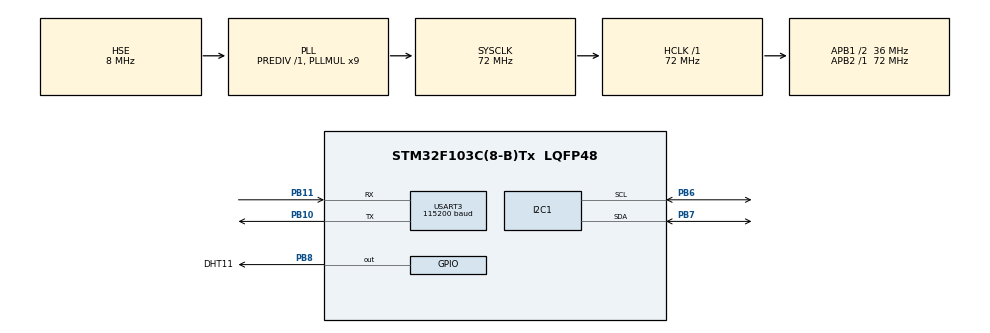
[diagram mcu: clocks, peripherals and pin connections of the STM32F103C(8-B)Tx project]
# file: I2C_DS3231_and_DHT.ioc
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Mcu.Family=STM32F1
Mcu.Name=STM32F103C(8-B)Tx
Mcu.Package=LQFP48
NVIC.PriorityGroup=NVIC_PRIORITYGROUP_4
PA13.Mode=Serial_Wire
PA13.Signal=SYS_JTMS-SWDIO
PA14.Mode=Serial_Wire
PA14.Signal=SYS_JTCK-SWCLK
PB10.Mode=Asynchronous
PB10.Signal=USART3_TX
PB11.Mode=Asynchronous
PB11.Signal=USART3_RX
PB6.Mode=I2C
PB6.Signal=I2C1_SCL
PB7.Mode=I2C
PB7.Signal=I2C1_SDA
PB8.GPIO_Label=DHT11
PB8.Signal=GPIO_Output
PD0-OSC_IN.Mode=HSE-External-Oscillator
PD0-OSC_IN.Signal=RCC_OSC_IN
PD1-OSC_OUT.Mode=HSE-External-Oscillator
PD1-OSC_OUT.Signal=RCC_OSC_OUT
ProjectManager.HeapSize=0x200
ProjectManager.StackSize=0x400
ProjectManager.TargetToolchain=TrueSTUDIO
RCC.AHBFreq_Value=72000000
RCC.APB1CLKDivider=RCC_HCLK_DIV2
RCC.APB1Freq_Value=36000000
RCC.APB1TimFreq_Value=72000000
RCC.APB2Freq_Value=72000000
RCC.APB2TimFreq_Value=72000000
RCC.HCLKFreq_Value=72000000
RCC.PLLMUL=RCC_PLL_MUL9
RCC.PLLSourceVirtual=RCC_PLLSOURCE_HSE
RCC.SYSCLKFreq_VALUE=72000000
RCC.SYSCLKSource=RCC_SYSCLKSOURCE_PLLCLK
RCC.USBFreq_Value=72000000
TIM4.Period=1000
TIM4.Prescaler=36
USART3.BaudRate=115200
USART3.VirtualMode=VM_ASYNC
VP_TIM4_VS_ClockSourceINT.Mode=Internal
board=custom

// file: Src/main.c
/* USER CODE BEGIN Header */
/**
 *
 * https://narodstream.ru/stm-urok-9-hal-shina-i2c-prodolzhaem-rabotu-s-ds3231/
 * https://terraideas.ru/article/podklyuchenie-dht11-i-dht22-k-stm32f103c8t6-4
 *
  ******************************************************************************
  * @file           : main.c
  * @brief          : Main program body
  ******************************************************************************
  * @attention
  *
  * <h2><center>&copy; Copyright (c) 2020 STMicroelectronics.
  * All rights reserved.</center></h2>
  *
  * This software component is licensed by ST under BSD 3-Clause license,
  * the "License"; You may not use this file except in compliance with the
  * License. You may obtain a copy of the License at:
  *                        opensource.org/licenses/BSD-3-Clause
  *
  ******************************************************************************
  */
/* USER CODE END Header */

#include "main.h"

/* USER CODE BEGIN Includes */
#include "string.h"
#include <stdio.h>
/* USER CODE END Includes */

/* USER CODE BEGIN PD */
#define DHT_SIZE 5 // size of temp_s
#define DHT_MAX_US 200
/* USER CODE END PD */

I2C_HandleTypeDef hi2c1;

TIM_HandleTypeDef htim4;

UART_HandleTypeDef huart3;

/* USER CODE BEGIN PV */

typedef struct {
	uint8_t HI; // целая часть влажности
	uint8_t HD; // дробная часть влажности
	uint8_t TI; // целая часть температуры
	uint8_t TD; // дробная часть температуры
	uint8_t crc; // контрольная сумма
} temp_s;

temp_s dht11_data;

uint8_t aTxBuffer[8];
char str[100];

uint32_t i=0;
uint8_t sec=0, min=0, hour=0, day=0, date=0, month=0, year=0;

/* USER CODE END PV */

void SystemClock_Config(void);
static void MX_GPIO_Init(void);
static void MX_I2C1_Init(void);
static void MX_USART3_UART_Init(void);
static void MX_TIM4_Init(void);

/* USER CODE BEGIN 0 */

// state - какой уровень считаем
uint8_t DHTGetUs(uint8_t state){

	uint8_t cnt = 0; // считаем сколько us продержался наш уровень, и выходим если что то пошло не так
	while (HAL_GPIO_ReadPin(DHT11_GPIO_Port, DHT11_Pin) == state && (cnt++ < DHT_MAX_US)) {

		//delay_us(1);
		TIM4->CNT = 0;
		while((TIM4->CNT < 2 * 1)) {}
	}
	return cnt;
}

uint8_t DHTRecv(temp_s *data) {
	// для удобства получения данных в цикле
	// представим нашу структуру как указатель на массив байт

	uint8_t *buf = data;
	uint8_t cnt, i, b = 0;
	// Поднимем ногу датчика к питанию на некоторое время, что бы датчик начал работать

	HAL_GPIO_WritePin(DHT11_GPIO_Port, DHT11_Pin, GPIO_PIN_SET);
	//delay_ms(100); // прижмем к питанию минимум на 18 мкс для DHT 11
	HAL_Delay(100);

	HAL_GPIO_WritePin(DHT11_GPIO_Port, DHT11_Pin, GPIO_PIN_RESET);
	//delay_ms(30); // отпустим ногу
	HAL_Delay(30);
	HAL_GPIO_WritePin(DHT11_GPIO_Port, DHT11_Pin, GPIO_PIN_SET); // датчик не сразу прижимает ногу в 0

	// по этому ждем некоторое время
	DHTGetUs(1); // теперь, когда нога прижата, ждем пока она прижата
	// 5 тут просто для того что бы убедится что прошло минимум 5 мкс
	if (DHTGetUs(0) < 5) return ERROR; // теперь ждем пока нога поднята
	if (DHTGetUs(1) < 5) return ERROR; // импульс присутствия датчика получен

	// значит нужно начинать получать наши биты // цикл по размеру структуры, в нашем случае 5 байт
	for (b = 0; b < DHT_SIZE; ++b) { // обнулим предыдущие показания
		*buf = 0;
		// получаем 8 бит в первый байт
		for (i = 0; i < 8; ++i) {
			//получаем время на сколько нога была прижата к 0
			cnt = DHTGetUs(0);
			// теперь получаем сколько нога прижата к 1 и сравниваем
			// если к 1 прижата дольше (>) значит пришла единица
			// если нет то пришел 0
			// и пишем это в нашу структуру
			*buf |= (DHTGetUs(1) > cnt) << (7 - i); }
		// сдвигаем указатель на следущий байт структуры
		buf++; }
	// проверяем контрольную сумму
	if (data->crc != data->HD + data->HI + data->TD + data->TI)
		return ERROR;
	return SUCCESS;
}

//перевод двоично-десятичного числа в десятичное
uint8_t RTC_ConvertFromDec(uint8_t c) {

 uint8_t ch = ((c>>4)*10+(0x0F&c));
       return ch;
}

//перевод десятичного числа в двоично-десятичное
uint8_t RTC_ConvertFromBinDec(uint8_t c) {

       uint8_t ch = ((c/10)<<4)|(c%10);
       return ch;
}

void I2C_WriteBuffer(I2C_HandleTypeDef hi, uint8_t DEV_ADDR, uint8_t sizebuf) {

	while(HAL_I2C_Master_Transmit(&hi, (uint16_t)DEV_ADDR,(uint8_t*) &aTxBuffer, (uint16_t)sizebuf, (uint32_t)1000)!= HAL_OK) {

	   if (HAL_I2C_GetError(&hi) != HAL_I2C_ERROR_AF) {

			   sprintf(str, "Buffer error");
			   HAL_UART_Transmit(&huart3, (uint8_t*)str, strlen(str), 1000);
	   }
	}
}

void I2C_ReadBuffer(I2C_HandleTypeDef hi, uint8_t DEV_ADDR, uint8_t sizebuf) {

	while(HAL_I2C_Master_Receive(&hi, (uint16_t)DEV_ADDR, (uint8_t*) &aTxBuffer, (uint16_t)sizebuf, (uint32_t)1000)!= HAL_OK) {

	   if (HAL_I2C_GetError(&hi) != HAL_I2C_ERROR_AF) {

			   sprintf(str, "Buffer error");
			   HAL_UART_Transmit(&huart3, (uint8_t*)str, strlen(str), 1000);
	   }
	}
}
/* USER CODE END 0 */

int main(void)
{

  /* MCU Configuration--------------------------------------------------------*/

  /* Reset of all peripherals, Initializes the Flash interface and the Systick. */
  HAL_Init();

  /* Configure the system clock */
  SystemClock_Config();

  /* Initialize all configured peripherals */
  MX_GPIO_Init();
  MX_I2C1_Init();
  MX_USART3_UART_Init();
  MX_TIM4_Init();
  /* USER CODE BEGIN 2 */
  HAL_TIM_Base_Start(&htim4);
  /* USER CODE END 2 */

  /* Infinite loop */
  /* USER CODE BEGIN WHILE */
  while (1) {

	  if (DHTRecv(&dht11_data) != SUCCESS) {

		  snprintf(str, 63, "Can't read from dht\n");
		  HAL_UART_Transmit(&huart3, (uint8_t*)str, strlen(str), 1000);
	  }

     aTxBuffer[0]=0;
     I2C_WriteBuffer(hi2c1,(uint16_t)0xD0,1);

	while (HAL_I2C_GetState(&hi2c1) != HAL_I2C_STATE_READY) {}

	I2C_ReadBuffer(hi2c1,(uint16_t)0xD0,7);

	date=aTxBuffer[4];
	date = RTC_ConvertFromDec(date); //Преобразуем в десятичный формат

	month=aTxBuffer[5];
	month = RTC_ConvertFromDec(month); //Преобразуем в десятичный формат

	year=aTxBuffer[6];
	year = RTC_ConvertFromDec(year); //Преобразуем в десятичный формат

	day=aTxBuffer[3];
	day = RTC_ConvertFromDec(day); //Преобразуем в десятичный формат

	hour=aTxBuffer[2];
	hour = RTC_ConvertFromDec(hour); //Преобразуем в десятичный формат

	min=aTxBuffer[1];
	min = RTC_ConvertFromDec(min); //Преобразуем в десятичный формат

	sec=aTxBuffer[0];
	sec = RTC_ConvertFromDec(sec); //Преобразуем в десятичный формат

	snprintf(str, 63, "%u : %u : %u, T = %d.%d, H = %d.%d\n", hour, min, sec, dht11_data.TI, dht11_data.TD, dht11_data.HI, dht11_data.HD);

	HAL_UART_Transmit(&huart3, (uint8_t*)str, strlen(str), 1000);

	HAL_Delay(100);
	i++;
    /* USER CODE END WHILE */

  }
}

void SystemClock_Config(void)
{
  RCC_OscInitTypeDef RCC_OscInitStruct = {0};
  RCC_ClkInitTypeDef RCC_ClkInitStruct = {0};

  /** Initializes the CPU, AHB and APB busses clocks
  */
  RCC_OscInitStruct.OscillatorType = RCC_OSCILLATORTYPE_HSE;
  RCC_OscInitStruct.HSEState = RCC_HSE_ON;
  RCC_OscInitStruct.HSEPredivValue = RCC_HSE_PREDIV_DIV1;
  RCC_OscInitStruct.HSIState = RCC_HSI_ON;
  RCC_OscInitStruct.PLL.PLLState = RCC_PLL_ON;
  RCC_OscInitStruct.PLL.PLLSource = RCC_PLLSOURCE_HSE;
  RCC_OscInitStruct.PLL.PLLMUL = RCC_PLL_MUL9;
  if (HAL_RCC_OscConfig(&RCC_OscInitStruct) != HAL_OK)
  {
    Error_Handler();
  }
  /** Initializes the CPU, AHB and APB busses clocks
  */
  RCC_ClkInitStruct.ClockType = RCC_CLOCKTYPE_HCLK|RCC_CLOCKTYPE_SYSCLK
                              |RCC_CLOCKTYPE_PCLK1|RCC_CLOCKTYPE_PCLK2;
  RCC_ClkInitStruct.SYSCLKSource = RCC_SYSCLKSOURCE_PLLCLK;
  RCC_ClkInitStruct.AHBCLKDivider = RCC_SYSCLK_DIV1;
  RCC_ClkInitStruct.APB1CLKDivider = RCC_HCLK_DIV2;
  RCC_ClkInitStruct.APB2CLKDivider = RCC_HCLK_DIV1;

  if (HAL_RCC_ClockConfig(&RCC_ClkInitStruct, FLASH_LATENCY_2) != HAL_OK)
  {
    Error_Handler();
  }
}

static void MX_I2C1_Init(void)
{

  hi2c1.Instance = I2C1;
  hi2c1.Init.ClockSpeed = 100000;
  hi2c1.Init.DutyCycle = I2C_DUTYCYCLE_2;
  hi2c1.Init.OwnAddress1 = 0;
  hi2c1.Init.AddressingMode = I2C_ADDRESSINGMODE_7BIT;
  hi2c1.Init.DualAddressMode = I2C_DUALADDRESS_DISABLE;
  hi2c1.Init.OwnAddress2 = 0;
  hi2c1.Init.GeneralCallMode = I2C_GENERALCALL_DISABLE;
  hi2c1.Init.NoStretchMode = I2C_NOSTRETCH_DISABLE;
  if (HAL_I2C_Init(&hi2c1) != HAL_OK)
  {
    Error_Handler();
  }

}

static void MX_TIM4_Init(void)
{

  TIM_ClockConfigTypeDef sClockSourceConfig = {0};
  TIM_MasterConfigTypeDef sMasterConfig = {0};

  htim4.Instance = TIM4;
  htim4.Init.Prescaler = 36;
  htim4.Init.CounterMode = TIM_COUNTERMODE_UP;
  htim4.Init.Period = 1000;
  htim4.Init.ClockDivision = TIM_CLOCKDIVISION_DIV1;
  htim4.Init.AutoReloadPreload = TIM_AUTORELOAD_PRELOAD_DISABLE;
  if (HAL_TIM_Base_Init(&htim4) != HAL_OK)
  {
    Error_Handler();
  }
  sClockSourceConfig.ClockSource = TIM_CLOCKSOURCE_INTERNAL;
  if (HAL_TIM_ConfigClockSource(&htim4, &sClockSourceConfig) != HAL_OK)
  {
    Error_Handler();
  }
  sMasterConfig.MasterOutputTrigger = TIM_TRGO_RESET;
  sMasterConfig.MasterSlaveMode = TIM_MASTERSLAVEMODE_DISABLE;
  if (HAL_TIMEx_MasterConfigSynchronization(&htim4, &sMasterConfig) != HAL_OK)
  {
    Error_Handler();
  }

}

static void MX_USART3_UART_Init(void)
{

  huart3.Instance = USART3;
  huart3.Init.BaudRate = 115200;
  huart3.Init.WordLength = UART_WORDLENGTH_8B;
  huart3.Init.StopBits = UART_STOPBITS_1;
  huart3.Init.Parity = UART_PARITY_NONE;
  huart3.Init.Mode = UART_MODE_TX_RX;
  huart3.Init.HwFlowCtl = UART_HWCONTROL_NONE;
  huart3.Init.OverSampling = UART_OVERSAMPLING_16;
  if (HAL_UART_Init(&huart3) != HAL_OK)
  {
    Error_Handler();
  }

}

static void MX_GPIO_Init(void)
{
  GPIO_InitTypeDef GPIO_InitStruct = {0};

  /* GPIO Ports Clock Enable */
  __HAL_RCC_GPIOD_CLK_ENABLE();
  __HAL_RCC_GPIOB_CLK_ENABLE();
  __HAL_RCC_GPIOA_CLK_ENABLE();

  /*Configure GPIO pin Output Level */
  HAL_GPIO_WritePin(DHT11_GPIO_Port, DHT11_Pin, GPIO_PIN_RESET);

  /*Configure GPIO pin : DHT11_Pin */
  GPIO_InitStruct.Pin = DHT11_Pin;
  GPIO_InitStruct.Mode = GPIO_MODE_OUTPUT_PP;
  GPIO_InitStruct.Pull = GPIO_NOPULL;
  GPIO_InitStruct.Speed = GPIO_SPEED_FREQ_LOW;
  HAL_GPIO_Init(DHT11_GPIO_Port, &GPIO_InitStruct);

}

void Error_Handler(void)
{
}

/************************ (C) COPYRIGHT STMicroelectronics *****END OF FILE****/
